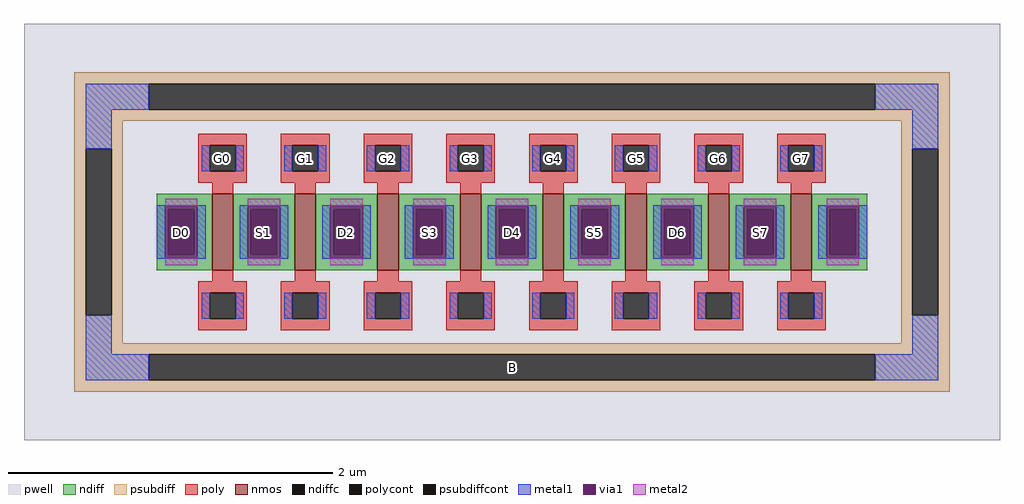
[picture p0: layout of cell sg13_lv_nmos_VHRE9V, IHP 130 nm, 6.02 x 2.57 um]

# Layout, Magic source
magic
tech ihp-sg13cmos5l
magscale 1 2
<< pwell >>
rect -602 -257 602 257
<< nmos >>
rect -370 -47 -344 47
rect -268 -47 -242 47
rect -166 -47 -140 47
rect -64 -47 -38 47
rect 38 -47 64 47
rect 140 -47 166 47
rect 242 -47 268 47
rect 344 -47 370 47
<< ndiff >>
rect -438 28 -370 47
rect -438 -28 -424 28
rect -392 -28 -370 28
rect -438 -47 -370 -28
rect -344 28 -268 47
rect -344 -28 -322 28
rect -290 -28 -268 28
rect -344 -47 -268 -28
rect -242 28 -166 47
rect -242 -28 -220 28
rect -188 -28 -166 28
rect -242 -47 -166 -28
rect -140 28 -64 47
rect -140 -28 -118 28
rect -86 -28 -64 28
rect -140 -47 -64 -28
rect -38 28 38 47
rect -38 -28 -16 28
rect 16 -28 38 28
rect -38 -47 38 -28
rect 64 28 140 47
rect 64 -28 86 28
rect 118 -28 140 28
rect 64 -47 140 -28
rect 166 28 242 47
rect 166 -28 188 28
rect 220 -28 242 28
rect 166 -47 242 -28
rect 268 28 344 47
rect 268 -28 290 28
rect 322 -28 344 28
rect 268 -47 344 -28
rect 370 28 438 47
rect 370 -28 392 28
rect 424 -28 438 28
rect 370 -47 438 -28
<< ndiffc >>
rect -424 -28 -392 28
rect -322 -28 -290 28
rect -220 -28 -188 28
rect -118 -28 -86 28
rect -16 -28 16 28
rect 86 -28 118 28
rect 188 -28 220 28
rect 290 -28 322 28
rect 392 -28 424 28
<< psubdiff >>
rect -540 183 540 197
rect -540 151 -448 183
rect 448 151 540 183
rect -540 137 540 151
rect -540 103 -480 137
rect -540 -103 -526 103
rect -494 -103 -480 103
rect 480 103 540 137
rect -540 -137 -480 -103
rect 480 -103 494 103
rect 526 -103 540 103
rect 480 -137 540 -103
rect -540 -151 540 -137
rect -540 -183 -448 -151
rect 448 -183 540 -151
rect -540 -197 540 -183
<< psubdiffcont >>
rect -448 151 448 183
rect -526 -103 -494 103
rect 494 -103 526 103
rect -448 -183 448 -151
<< poly >>
rect -387 107 -327 121
rect -387 75 -373 107
rect -341 75 -327 107
rect -387 61 -327 75
rect -285 107 -225 121
rect -285 75 -271 107
rect -239 75 -225 107
rect -285 61 -225 75
rect -183 107 -123 121
rect -183 75 -169 107
rect -137 75 -123 107
rect -183 61 -123 75
rect -81 107 -21 121
rect -81 75 -67 107
rect -35 75 -21 107
rect -81 61 -21 75
rect 21 107 81 121
rect 21 75 35 107
rect 67 75 81 107
rect 21 61 81 75
rect 123 107 183 121
rect 123 75 137 107
rect 169 75 183 107
rect 123 61 183 75
rect 225 107 285 121
rect 225 75 239 107
rect 271 75 285 107
rect 225 61 285 75
rect 327 107 387 121
rect 327 75 341 107
rect 373 75 387 107
rect 327 61 387 75
rect -370 47 -344 61
rect -268 47 -242 61
rect -166 47 -140 61
rect -64 47 -38 61
rect 38 47 64 61
rect 140 47 166 61
rect 242 47 268 61
rect 344 47 370 61
rect -370 -61 -344 -47
rect -268 -61 -242 -47
rect -166 -61 -140 -47
rect -64 -61 -38 -47
rect 38 -61 64 -47
rect 140 -61 166 -47
rect 242 -61 268 -47
rect 344 -61 370 -47
rect -387 -75 -327 -61
rect -387 -107 -373 -75
rect -341 -107 -327 -75
rect -387 -121 -327 -107
rect -285 -75 -225 -61
rect -285 -107 -271 -75
rect -239 -107 -225 -75
rect -285 -121 -225 -107
rect -183 -75 -123 -61
rect -183 -107 -169 -75
rect -137 -107 -123 -75
rect -183 -121 -123 -107
rect -81 -75 -21 -61
rect -81 -107 -67 -75
rect -35 -107 -21 -75
rect -81 -121 -21 -107
rect 21 -75 81 -61
rect 21 -107 35 -75
rect 67 -107 81 -75
rect 21 -121 81 -107
rect 123 -75 183 -61
rect 123 -107 137 -75
rect 169 -107 183 -75
rect 123 -121 183 -107
rect 225 -75 285 -61
rect 225 -107 239 -75
rect 271 -107 285 -75
rect 225 -121 285 -107
rect 327 -75 387 -61
rect 327 -107 341 -75
rect 373 -107 387 -75
rect 327 -121 387 -107
<< polycont >>
rect -373 75 -341 107
rect -271 75 -239 107
rect -169 75 -137 107
rect -67 75 -35 107
rect 35 75 67 107
rect 137 75 169 107
rect 239 75 271 107
rect 341 75 373 107
rect -373 -107 -341 -75
rect -271 -107 -239 -75
rect -169 -107 -137 -75
rect -67 -107 -35 -75
rect 35 -107 67 -75
rect 137 -107 169 -75
rect 239 -107 271 -75
rect 341 -107 373 -75
<< metal1 >>
rect -526 151 -448 183
rect 448 151 526 183
rect -526 103 -494 151
rect -383 75 -373 107
rect -341 75 -331 107
rect -281 75 -271 107
rect -239 75 -229 107
rect -179 75 -169 107
rect -137 75 -127 107
rect -77 75 -67 107
rect -35 75 -25 107
rect 25 75 35 107
rect 67 75 77 107
rect 127 75 137 107
rect 169 75 179 107
rect 229 75 239 107
rect 271 75 281 107
rect 331 75 341 107
rect 373 75 383 107
rect 494 103 526 151
rect -438 32 -378 33
rect -438 -32 -428 32
rect -388 -32 -378 32
rect -438 -33 -378 -32
rect -336 32 -276 33
rect -336 -32 -326 32
rect -286 -32 -276 32
rect -336 -33 -276 -32
rect -234 32 -174 33
rect -234 -32 -224 32
rect -184 -32 -174 32
rect -234 -33 -174 -32
rect -132 32 -72 33
rect -132 -32 -122 32
rect -82 -32 -72 32
rect -132 -33 -72 -32
rect -30 32 30 33
rect -30 -32 -20 32
rect 20 -32 30 32
rect -30 -33 30 -32
rect 72 32 132 33
rect 72 -32 82 32
rect 122 -32 132 32
rect 72 -33 132 -32
rect 174 32 234 33
rect 174 -32 184 32
rect 224 -32 234 32
rect 174 -33 234 -32
rect 276 32 336 33
rect 276 -32 286 32
rect 326 -32 336 32
rect 276 -33 336 -32
rect 378 32 438 33
rect 378 -32 388 32
rect 428 -32 438 32
rect 378 -33 438 -32
rect -526 -151 -494 -103
rect -383 -107 -373 -75
rect -341 -107 -331 -75
rect -281 -107 -271 -75
rect -239 -107 -229 -75
rect -179 -107 -169 -75
rect -137 -107 -127 -75
rect -77 -107 -67 -75
rect -35 -107 -25 -75
rect 25 -107 35 -75
rect 67 -107 77 -75
rect 127 -107 137 -75
rect 169 -107 179 -75
rect 229 -107 239 -75
rect 271 -107 281 -75
rect 331 -107 341 -75
rect 373 -107 383 -75
rect 494 -151 526 -103
rect -526 -183 -448 -151
rect 448 -183 526 -151
<< via1 >>
rect -428 28 -388 32
rect -428 -28 -424 28
rect -424 -28 -392 28
rect -392 -28 -388 28
rect -428 -32 -388 -28
rect -326 28 -286 32
rect -326 -28 -322 28
rect -322 -28 -290 28
rect -290 -28 -286 28
rect -326 -32 -286 -28
rect -224 28 -184 32
rect -224 -28 -220 28
rect -220 -28 -188 28
rect -188 -28 -184 28
rect -224 -32 -184 -28
rect -122 28 -82 32
rect -122 -28 -118 28
rect -118 -28 -86 28
rect -86 -28 -82 28
rect -122 -32 -82 -28
rect -20 28 20 32
rect -20 -28 -16 28
rect -16 -28 16 28
rect 16 -28 20 28
rect -20 -32 20 -28
rect 82 28 122 32
rect 82 -28 86 28
rect 86 -28 118 28
rect 118 -28 122 28
rect 82 -32 122 -28
rect 184 28 224 32
rect 184 -28 188 28
rect 188 -28 220 28
rect 220 -28 224 28
rect 184 -32 224 -28
rect 286 28 326 32
rect 286 -28 290 28
rect 290 -28 322 28
rect 322 -28 326 28
rect 286 -32 326 -28
rect 388 28 428 32
rect 388 -28 392 28
rect 392 -28 424 28
rect 424 -28 428 28
rect 388 -32 428 -28
<< metal2 >>
rect -428 32 -388 41
rect -428 -41 -388 -32
rect -326 32 -286 41
rect -326 -41 -286 -32
rect -224 32 -184 41
rect -224 -41 -184 -32
rect -122 32 -82 41
rect -122 -41 -82 -32
rect -20 32 20 41
rect -20 -41 20 -32
rect 82 32 122 41
rect 82 -41 122 -32
rect 184 32 224 41
rect 184 -41 224 -32
rect 286 32 326 41
rect 286 -41 326 -32
rect 388 32 428 41
rect 388 -41 428 -32
<< labels >>
rlabel ndiffc -408 0 -408 0 0 D0
port 2 nsew
rlabel polycont -357 91 -357 91 0 G0
port 3 nsew
rlabel ndiffc -306 0 -306 0 0 S1
port 4 nsew
rlabel polycont -255 91 -255 91 0 G1
port 5 nsew
rlabel ndiffc -204 0 -204 0 0 D2
port 6 nsew
rlabel polycont -153 91 -153 91 0 G2
port 7 nsew
rlabel ndiffc -102 0 -102 0 0 S3
port 8 nsew
rlabel polycont -51 91 -51 91 0 G3
port 9 nsew
rlabel ndiffc 0 0 0 0 0 D4
port 10 nsew
rlabel polycont 51 91 51 91 0 G4
port 11 nsew
rlabel ndiffc 102 0 102 0 0 S5
port 12 nsew
rlabel polycont 153 91 153 91 0 G5
port 13 nsew
rlabel ndiffc 204 0 204 0 0 D6
port 14 nsew
rlabel polycont 255 91 255 91 0 G6
port 15 nsew
rlabel ndiffc 306 0 306 0 0 S7
port 16 nsew
rlabel polycont 357 91 357 91 0 G7
port 17 nsew
rlabel psubdiffcont 0 -167 0 -167 0 B
port 1 nsew
<< properties >>
string FIXED_BBOX -510 -165 510 165
string gencell sg13_lv_nmos
string library sg13cmos5l
string parameters w 0.47 l 0.13 m 1 ng 8 diffcov 85 polycov 100 guard 1 glc 1 grc 1 gtc 1 gbc 1 tbcov 100 rlcov 100 topc 1 botc 1 poverlap 0 doverlap 1 lmin 0.13 wmin 0.15 class mosfet compatible {sg13_lv_nmos sg13_hv_nmos} full_metal 1 conn_gates 0 gate_ring 0 doports 1 viasrc 100 viadrn 100 viagate 0 ccols 1 viagb 0 viagr 0 viagl 0 viagt 0
<< end >>
